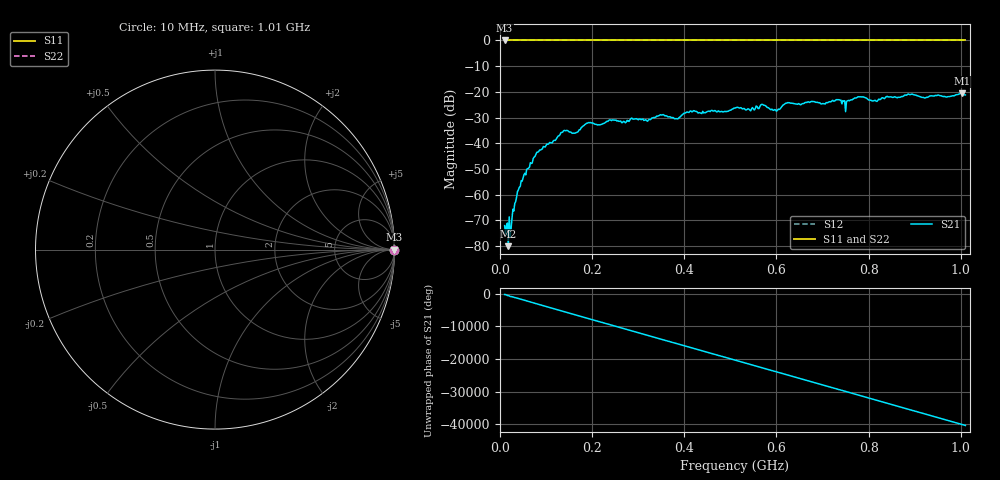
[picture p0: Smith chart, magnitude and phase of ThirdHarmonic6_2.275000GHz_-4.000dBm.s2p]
! 8/17/2025 2:54:22 AM
! C:\ANRITSUVNA\TEMP\TEMP.S2P
! CHANNEL.1
! TR.MEASUREMENT
! RAW.DATA
! RF.CORRECTION.OFF
! AVERAGING.OFF
! IF.BANDWIDTH: 5KHZ
! SWEEPTYPE:  FREQ.SWEEP(Linear)
! Reference Plane Port Info
! PORT:  PORT1  PORT2
! DISTANCE:  0  m  0  m
! TIME:  0  s  0  s
! PHASE.OFFSET:  0  deg.  0  deg.
! LOSS:  0  dB  0  dB
! REF.LOSS:  0  dB  0  dB
! REF.FREQ:  0  Hz  0  Hz
! Power Info
! POWER:  -20  dBm  -20  dBm
! EFF.POWER:  -20  dBm  -20  dBm
! SOURCE.ATTEN:  0  dB  0  dB
! TEST.ATTEN:  0  dB  0  dB
# GHZ S RI R 50.0
! FREQ.GHZ  S11RE  S11IM  S21RE  S21IM  S12RE  S12IM  S22RE  S22IM
!; PortSelection: Port_12
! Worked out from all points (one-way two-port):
!   501 points, 10 MHz to 1.01 GHz, reference 50 ohm
!   highest |S21| = -20.58 dB at 1.002 GHz (marker M1); lowest = -80.1 dB at 18 MHz (marker M2)
!   lowest |S11| = 0.0 dB at 10 MHz (marker M3)
!   |S11| at or under -10 dB: nowhere
!   |S22| runs from 0.0 to 0.0 dB; largest |S21 - S12| = 1.1
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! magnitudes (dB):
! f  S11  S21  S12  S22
! 10 MHz  0.0  -72.1  0.0  0.0
! 18 MHz  0.0  -80.1  0.0  0.0
! 22 MHz  0.0  -76.3  0.0  0.0
! 42 MHz  0.0  -57.2  0.0  0.0
! 78 MHz  0.0  -44.3  0.0  0.0
! 136 MHz  0.0  -35.7  0.0  0.0
! 162 MHz  0.0  -36.1  0.0  0.0
! 178 MHz  0.0  -33.7  0.0  0.0
! 344 MHz  0.0  -29.3  0.0  0.0
! 382 MHz  0.0  -30.4  0.0  0.0
! 416 MHz  0.0  -27.8  0.0  0.0
! 510 MHz  0.0  -26.3  0.0  0.0
! 570 MHz  0.0  -24.9  0.0  0.0
! 598 MHz  0.0  -27.0  0.0  0.0
! 624 MHz  0.0  -24.2  0.0  0.0
! 678 MHz  0.0  -23.7  0.0  0.0
! 746 MHz  0.0  -23.7  0.0  0.0
! 780 MHz  0.0  -22.0  0.0  0.0
! 814 MHz  0.0  -23.3  0.0  0.0
! 844 MHz  0.0  -22.0  0.0  0.0
! 1.002 GHz  0.0  -20.6  0.0  0.0
! 1.01 GHz  0.0  -21.2  0.0  0.0
